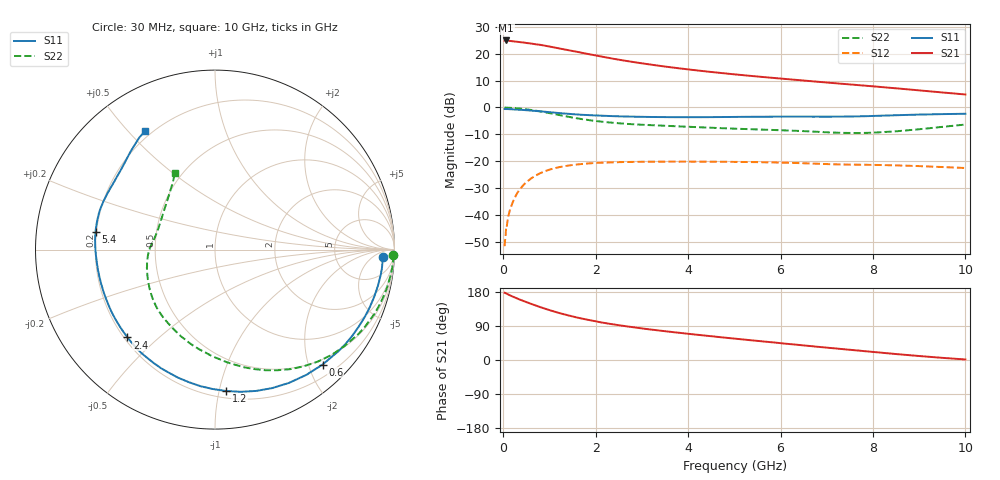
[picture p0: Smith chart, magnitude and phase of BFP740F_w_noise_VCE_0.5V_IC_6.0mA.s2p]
! Infineon Technologies  Discrete & RF Semiconductors
! BFP740F
! VCE =  0.5 V,  IC =  6.0 mA
! Common Emitter S-Parameters:  Oct 2012
# GHz  S  MA  R  50
!  f  S11  S21  S12  S22
! GHz  MAG  ANG  MAG  ANG  MAG  ANG  MAG  ANG
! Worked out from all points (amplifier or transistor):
!   99 points, 30 MHz to 10 GHz, reference 50 ohm
!   highest |S21| = 24.8 dB at 60 MHz (marker M1)
!   |S21| within 3 dB of that: start of sweep to 1.226 GHz
!   unconditionally stable (mu >= 1): 7.399 GHz to end of sweep
!   at 350 MHz: K = 0.05, MSG = 27.4 dB, |S12| = -30.5 dB
!   at 3.5 GHz: K = 0.38, MSG = 17.6 dB, |S12| = -20.1 dB
!   at 10 GHz: K = 1.30, MAG = 10.3 dB, |S12| = -22.4 dB
!   lowest NFmin = 0.39 dB at 450 MHz
!   S11 on the Smith chart (normalised r, x): 30 MHz: 21, -14; 600 MHz: 0.40, -2.24; 1.2 GHz: 0.25, -1.05; 2.4 GHz: 0.21, -0.40; 5.4 GHz: 0.20, +0.07; 10 GHz: 0.17, +0.56
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0.03  0.9367 -2.5  17.25 177.6  0.0027 91.0  0.9937 -1.8
0.06  0.9356 -5.1  17.45 176.0  0.0057 86.9  0.9945 -3.8
0.2  0.9251 -16.5  16.87 167.6  0.0171 80.3  0.9812 -12.7
0.35  0.9084 -28.3  16.31 159.9  0.0297 73.5  0.9582 -21.9
0.45  0.8976 -35.8  15.97 155.2  0.0376 69.1  0.9384 -27.7
0.6  0.8772 -46.9  15.32 148.3  0.0483 62.6  0.9008 -36.5
0.8  0.8494 -61.0  14.48 139.6  0.0607 54.6  0.8468 -47.5
0.9  0.8347 -67.6  13.98 135.6  0.066 50.8  0.8167 -52.8
1  0.8201 -73.8  13.47 131.7  0.0706 47.3  0.7871 -57.8
1.2  0.7902 -85.5  12.47 124.4  0.0781 40.8  0.7287 -67.3
1.4  0.7652 -96.1  11.56 118.0  0.0838 35.2  0.6762 -76.0
1.7  0.7327 -110.4  10.32 109.4  0.0897 28.2  0.6098 -87.9
2.1  0.707 -125.8  8.875 99.6  0.0946 20.5  0.5497 -102.5
2.4  0.691 -134.9  7.946 93.7  0.0966 16.0  0.5199 -111.2
2.9  0.674 -147.7  6.776 85.0  0.0984 9.9  0.4844 -123.3
3.4  0.6649 -157.9  5.889 77.4  0.0993 5.0  0.463 -133.0
4.2  0.6615 -171.5  4.856 66.6  0.0994 -1.5  0.4325 -145.6
5.1  0.6704 175.4  4.037 55.3  0.0981 -7.8  0.4028 -159.3
5.4  0.673 171.4  3.819 51.7  0.0975 -9.8  0.3949 -163.6
6.7  0.6759 153.9  3.051 36.2  0.0914 -17.3  0.3582 176.7
8.5  0.7192 131.1  2.266 15.7  0.0847 -23.4  0.3621 140.7
10  0.7657 120.7  1.741 1.4  0.0757 -27.9  0.4833 117.3
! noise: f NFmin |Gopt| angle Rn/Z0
0.45  0.39  0.32  6  0.21
0.9  0.44  0.32  12  0.18
1.5  0.51  0.32  24  0.14
1.9  0.55  0.31  32  0.13
2.4  0.62  0.3  41  0.12
3.5  0.75  0.27  66  0.11
5.5  0.99  0.17  113  0.19
10  1.49  0.4  -125  0.07
